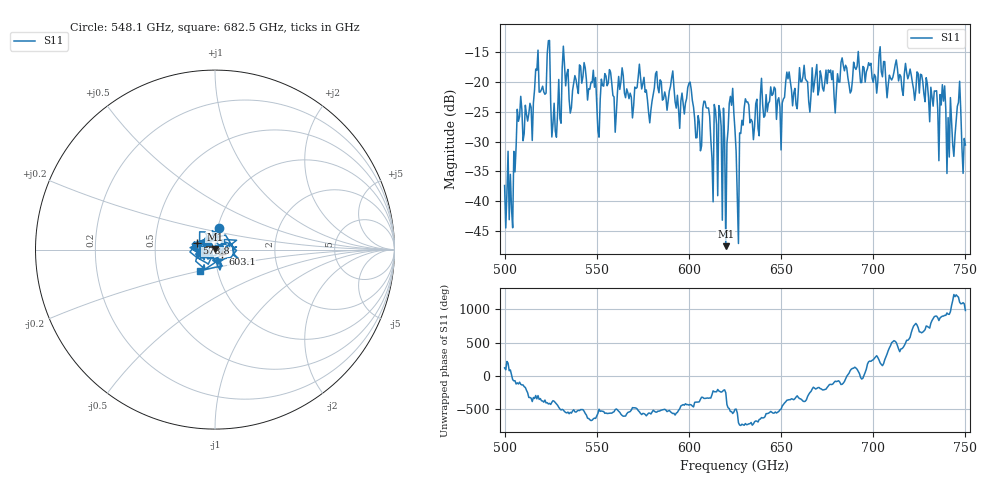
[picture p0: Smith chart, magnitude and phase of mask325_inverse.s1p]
!Created with skrf (http://scikit-rf.org).
# GHz S MA R 50.0
!freq magS11 angS11
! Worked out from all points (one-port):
!   401 points, 500 GHz to 750 GHz, reference 50 ohm
!   lowest |S11| = -47.5 dB at 620 GHz (marker M1), VSWR 1.01, Z = 49.9 + j0.396 ohm
!   |S11| at or under -10 dB: start of sweep to end of sweep
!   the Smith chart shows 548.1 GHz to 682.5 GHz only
!   S11 on the Smith chart (normalised r, x): 548.1 GHz: 1.01, +0.25; 573.8 GHz: 0.81, +0.06; 603.1 GHz: 1.08, -0.06; 682.5 GHz: 0.82, -0.20
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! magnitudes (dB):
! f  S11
! 500 GHz  -37.3
! 503.8 GHz  -41.3
! 508.1 GHz  -25.8
! 513.8 GHz  -23.6
! 516.9 GHz  -17.9
! 523.8 GHz  -13.1
! 526.9 GHz  -23.6
! 531.2 GHz  -17.7
! 548.1 GHz  -18.1
! 551.2 GHz  -29.3
! 562.5 GHz  -21.3
! 573.8 GHz  -19.3
! 593.8 GHz  -22.3
! 600.6 GHz  -20.1
! 603.1 GHz  -26.2
! 620 GHz  -47.5
! 623.1 GHz  -23.9
! 625 GHz  -28.1
! 626.9 GHz  -47.0
! 631.2 GHz  -23.4
! 656.2 GHz  -24.0
! 682.5 GHz  -16.8
! 687.5 GHz  -21.9
! 718.8 GHz  -19.5
! 737.5 GHz  -20.5
! 742.5 GHz  -26.7
! 746.2 GHz  -23.5
! 750 GHz  -30.6
